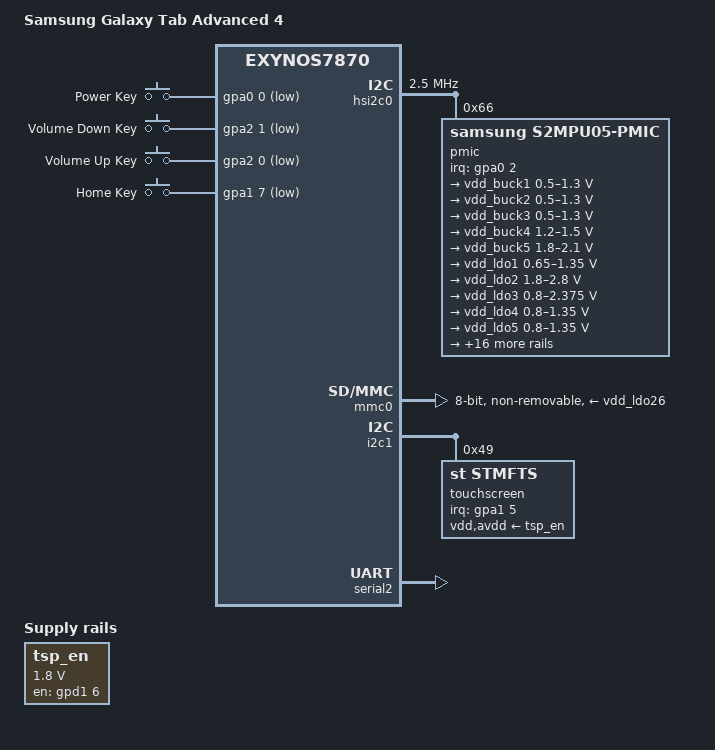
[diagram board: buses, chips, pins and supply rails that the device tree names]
// SPDX-License-Identifier: GPL-2.0
/*
 * Samsung Galaxy Tab Advanced 4 (SM-T536, matisse10wifikx)
 * Minimal first-boot device tree.
 */

/dts-v1/;
#include "exynos7870.dtsi"
#include <dt-bindings/gpio/gpio.h>
#include <dt-bindings/input/input.h>
#include <dt-bindings/interrupt-controller/irq.h>

/ {
	model = "Samsung Galaxy Tab Advanced 4";
	compatible = "samsung,matisse10wifikx", "samsung,exynos7870";
	chassis-type = "tablet";

	aliases {
		mmc0 = &mmc0;
		serial0 = &serial0;
		serial1 = &serial1;
		serial2 = &serial2;
	};

	chosen {
		#address-cells = <2>;
		#size-cells = <1>;
		ranges;

		stdout-path = "serial2:115200n8";

		framebuffer@67000000 {
			compatible = "simple-framebuffer";
			reg = <0x0 0x67000000 0x003e8000>;
			width = <1280>;
			height = <800>;
			stride = <(1280 * 4)>;
			format = "a8r8g8b8";
		};
	};

	gpio-keys {
		compatible = "gpio-keys";
		label = "GPIO Keys";

		pinctrl-names = "default";
		pinctrl-0 = <&key_power &key_voldown &key_volup &key_home>;

		key-power {
			label = "Power Key";
			gpios = <&gpa0 0 GPIO_ACTIVE_LOW>;
			linux,code = <KEY_POWER>;
			wakeup-source;
		};

		key-voldown {
			label = "Volume Down Key";
			gpios = <&gpa2 1 GPIO_ACTIVE_LOW>;
			linux,code = <KEY_VOLUMEDOWN>;
		};

		key-volup {
			label = "Volume Up Key";
			gpios = <&gpa2 0 GPIO_ACTIVE_LOW>;
			linux,code = <KEY_VOLUMEUP>;
		};

		key-home {
			label = "Home Key";
			gpios = <&gpa1 7 GPIO_ACTIVE_LOW>;
			linux,code = <KEY_HOMEPAGE>;
			wakeup-source;
		};
	};

	tsp_en: regulator-tsp-en {
		compatible = "regulator-fixed";
		regulator-name = "tsp_en";
		regulator-min-microvolt = <1800000>;
		regulator-max-microvolt = <1800000>;
		gpio = <&gpd1 6 GPIO_ACTIVE_HIGH>;
		enable-active-high;
	};

	/* Matches the two stock SM-T536 memory nodes. */
	memory@40000000 {
		device_type = "memory";
		reg = <0x0 0x40000000 0x3e400000>,
		      <0x0 0x80000000 0x40000000>;
	};

	reserved-memory {
		#address-cells = <2>;
		#size-cells = <1>;
		ranges;

		ramoops@46e00000 {
			compatible = "ramoops";
			reg = <0x0 0x46e00000 0x8000>;
			console-size = <0x4000>;
			pmsg-size = <0x4000>;
		};

		/* Keep the stock bootloader framebuffer out of the page allocator. */
		framebuffer@67000000 {
			reg = <0x0 0x67000000 0x003e8000>;
			no-map;
		};

		/* Non-reusable firmware carveouts from the stock SM-T536 DTB. */
		mfc-firmware@ae600000 {
			reg = <0x0 0xae600000 0x00400000>;
			no-map;
		};

		cp-init@affff000 {
			reg = <0x0 0xaffff000 0x00001000>;
			no-map;
		};

		modem@b0000000 {
			reg = <0x0 0xb0000000 0x07800000>;
			no-map;
		};

		gnss@b7c00000 {
			reg = <0x0 0xb7c00000 0x00400000>;
			no-map;
		};
	};
};

&oscclk {
	clock-frequency = <26000000>;
};

&hsi2c0 {
	#address-cells = <1>;
	#size-cells = <0>;
	clock-frequency = <2500000>;
	status = "okay";

	pmic@66 {
		compatible = "samsung,s2mpu05-pmic";
		reg = <0x66>;
		interrupt-parent = <&gpa0>;
		interrupts = <2 IRQ_TYPE_LEVEL_LOW>;
		pinctrl-names = "default";
		pinctrl-0 = <&pmic_irq>;

		regulators {
			vdd_buck1: buck1 {
				regulator-name = "BUCK1";
				regulator-min-microvolt = <500000>;
				regulator-max-microvolt = <1300000>;
				regulator-always-on;
				regulator-boot-on;
			};

			vdd_buck2: buck2 {
				regulator-name = "BUCK2";
				regulator-min-microvolt = <500000>;
				regulator-max-microvolt = <1300000>;
				regulator-always-on;
				regulator-boot-on;
			};

			vdd_buck3: buck3 {
				regulator-name = "BUCK3";
				regulator-min-microvolt = <500000>;
				regulator-max-microvolt = <1300000>;
				regulator-always-on;
				regulator-boot-on;
			};

			vdd_buck4: buck4 {
				regulator-name = "BUCK4";
				regulator-min-microvolt = <1200000>;
				regulator-max-microvolt = <1500000>;
				regulator-always-on;
				regulator-boot-on;
			};

			vdd_buck5: buck5 {
				regulator-name = "BUCK5";
				regulator-min-microvolt = <1800000>;
				regulator-max-microvolt = <2100000>;
				regulator-always-on;
				regulator-boot-on;
			};

			vdd_ldo1: ldo1 {
				regulator-name = "vdd_ldo1";
				regulator-min-microvolt = <650000>;
				regulator-max-microvolt = <1350000>;
				regulator-always-on;
				regulator-boot-on;
			};

			vdd_ldo2: ldo2 {
				regulator-name = "vqmmc";
				regulator-min-microvolt = <1800000>;
				regulator-max-microvolt = <2800000>;
			};

			vdd_ldo3: ldo3 {
				regulator-name = "vdd_ldo3";
				regulator-min-microvolt = <800000>;
				regulator-max-microvolt = <2375000>;
				regulator-always-on;
				regulator-boot-on;
			};

			vdd_ldo4: ldo4 {
				regulator-name = "vdd_ldo4";
				regulator-min-microvolt = <800000>;
				regulator-max-microvolt = <1350000>;
				regulator-always-on;
				regulator-boot-on;
			};

			vdd_ldo5: ldo5 {
				regulator-name = "vdd_ldo5";
				regulator-min-microvolt = <800000>;
				regulator-max-microvolt = <1350000>;
				regulator-always-on;
				regulator-boot-on;
			};

			vdd_ldo6: ldo6 {
				regulator-name = "vdd_ldo6";
				regulator-min-microvolt = <800000>;
				regulator-max-microvolt = <1350000>;
				regulator-always-on;
				regulator-boot-on;
			};

			vdd_ldo7: ldo7 {
				regulator-name = "vdd_ldo7";
				regulator-min-microvolt = <800000>;
				regulator-max-microvolt = <2375000>;
				regulator-always-on;
				regulator-boot-on;
			};

			vdd_ldo8: ldo8 {
				regulator-name = "vdd_ldo8";
				regulator-min-microvolt = <1800000>;
				regulator-max-microvolt = <3375000>;
				regulator-always-on;
				regulator-boot-on;
			};

			vdd_ldo9: ldo9 {
				regulator-name = "vdd_ldo9";
				regulator-min-microvolt = <650000>;
				regulator-max-microvolt = <1350000>;
				regulator-always-on;
			};

			vdd_ldo10: ldo10 {
				regulator-name = "vdd_ldo10";
				regulator-min-microvolt = <650000>;
				regulator-max-microvolt = <1350000>;
				regulator-always-on;
			};

			vdd_ldo25: ldo25 {
				regulator-name = "VDDIO_1.8V_CAM";
				regulator-min-microvolt = <1800000>;
				regulator-max-microvolt = <1800000>;
			};

			vdd_ldo26: ldo26 {
				regulator-name = "vemmc";
				regulator-min-microvolt = <1800000>;
				regulator-max-microvolt = <3375000>;
				regulator-boot-on;
			};

			vdd_ldo27: ldo27 {
				regulator-name = "vqemmc";
				regulator-min-microvolt = <800000>;
				regulator-max-microvolt = <2375000>;
				regulator-boot-on;
			};

			vdd_ldo28: ldo28 {
				regulator-name = "vmmc";
				regulator-min-microvolt = <2800000>;
				regulator-max-microvolt = <2800000>;
			};

			vdd_ldo29: ldo29 {
				regulator-name = "VDD_CAM_AF_2P8";
				regulator-min-microvolt = <2800000>;
				regulator-max-microvolt = <2800000>;
			};

			vdd_ldo30: ldo30 {
				regulator-name = "VDD_CODEC_1P8";
				regulator-min-microvolt = <1850000>;
				regulator-max-microvolt = <1850000>;
				regulator-always-on;
			};

			vdd_ldo31: ldo31 {
				regulator-name = "vdd_ldo31";
				regulator-min-microvolt = <2800000>;
				regulator-max-microvolt = <2800000>;
				regulator-always-on;
			};

			vdd_ldo32: ldo32 {
				regulator-name = "VDD_CODEC_3P3";
				regulator-min-microvolt = <3300000>;
				regulator-max-microvolt = <3300000>;
				regulator-always-on;
			};

			vdd_ldo33: ldo33 {
				regulator-name = "VT_CAM_2P8";
				regulator-min-microvolt = <2800000>;
				regulator-max-microvolt = <2800000>;
			};

			vdd_ldo34: ldo34 {
				regulator-name = "ldo_34";
				regulator-min-microvolt = <1800000>;
				regulator-max-microvolt = <1800000>;
			};

			vdd_ldo35: ldo35 {
				regulator-name = "VDD_CAM_SENSOR_A2P8";
				regulator-min-microvolt = <2800000>;
				regulator-max-microvolt = <2800000>;
			};
		};
	};
};

&mmc0 {
	pinctrl-names = "default";
	pinctrl-0 = <&sd0_clk &sd0_cmd &sd0_rdqs &sd0_bus1 &sd0_bus4 &sd0_bus8>;

	vmmc-supply = <&vdd_ldo26>;
	vqmmc-supply = <&vdd_ldo27>;

	bus-width = <8>;
	fifo-depth = <64>;
	samsung,dw-mshc-ciu-div = <3>;
	samsung,dw-mshc-sdr-timing = <0 4>;
	samsung,dw-mshc-ddr-timing = <2 4>;
	non-removable;

	status = "okay";
};

&i2c1 {
	/* The s3c24xx driver consumes Samsung's legacy timing properties. */
	samsung,i2c-sda-delay = <100>;
	samsung,i2c-max-bus-freq = <400000>;
	status = "okay";

	touchscreen@49 {
		compatible = "st,stmfts";
		reg = <0x49>;

		interrupt-parent = <&gpa1>;
		interrupts = <5 IRQ_TYPE_LEVEL_LOW>;
		pinctrl-names = "default";
		pinctrl-0 = <&tsp_irq>;

		touchscreen-size-x = <1280>;
		touchscreen-size-y = <800>;

		/* Stock uses one TSP_EN rail for both digital and analog power. */
		vdd-supply = <&tsp_en>;
		avdd-supply = <&tsp_en>;
	};
};

&pinctrl_alive {
	tsp_irq: touchscreen-irq-pins {
		samsung,pins = "gpa1-5";
		samsung,pin-function = <EXYNOS_PIN_FUNC_EINT>;
		samsung,pin-pud = <EXYNOS_PIN_PULL_NONE>;
		samsung,pin-drv = <EXYNOS5433_PIN_DRV_FAST_SR1>;
	};

	key_home: key-home-pins {
		samsung,pins = "gpa1-7";
		samsung,pin-function = <EXYNOS_PIN_FUNC_EINT>;
		samsung,pin-pud = <EXYNOS_PIN_PULL_NONE>;
		samsung,pin-drv = <EXYNOS5433_PIN_DRV_FAST_SR1>;
	};

	key_power: key-power-pins {
		samsung,pins = "gpa0-0";
		samsung,pin-function = <EXYNOS_PIN_FUNC_EINT>;
		samsung,pin-pud = <EXYNOS_PIN_PULL_NONE>;
		samsung,pin-drv = <EXYNOS5433_PIN_DRV_FAST_SR1>;
	};

	key_voldown: key-voldown-pins {
		samsung,pins = "gpa2-1";
		samsung,pin-function = <EXYNOS_PIN_FUNC_EINT>;
		samsung,pin-pud = <EXYNOS_PIN_PULL_NONE>;
		samsung,pin-drv = <EXYNOS5433_PIN_DRV_FAST_SR1>;
	};

	key_volup: key-volup-pins {
		samsung,pins = "gpa2-0";
		samsung,pin-function = <EXYNOS_PIN_FUNC_EINT>;
		samsung,pin-pud = <EXYNOS_PIN_PULL_NONE>;
		samsung,pin-drv = <EXYNOS5433_PIN_DRV_FAST_SR1>;
	};

	pmic_irq: pmic-irq-pins {
		samsung,pins = "gpa0-2";
		samsung,pin-function = <EXYNOS_PIN_FUNC_EINT>;
		samsung,pin-pud = <EXYNOS_PIN_PULL_UP>;
		samsung,pin-drv = <EXYNOS5433_PIN_DRV_FAST_SR3>;
	};
};

/* UART2 is routed to the Samsung debug/accessory connector. */
&serial2 {
	status = "okay";
};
